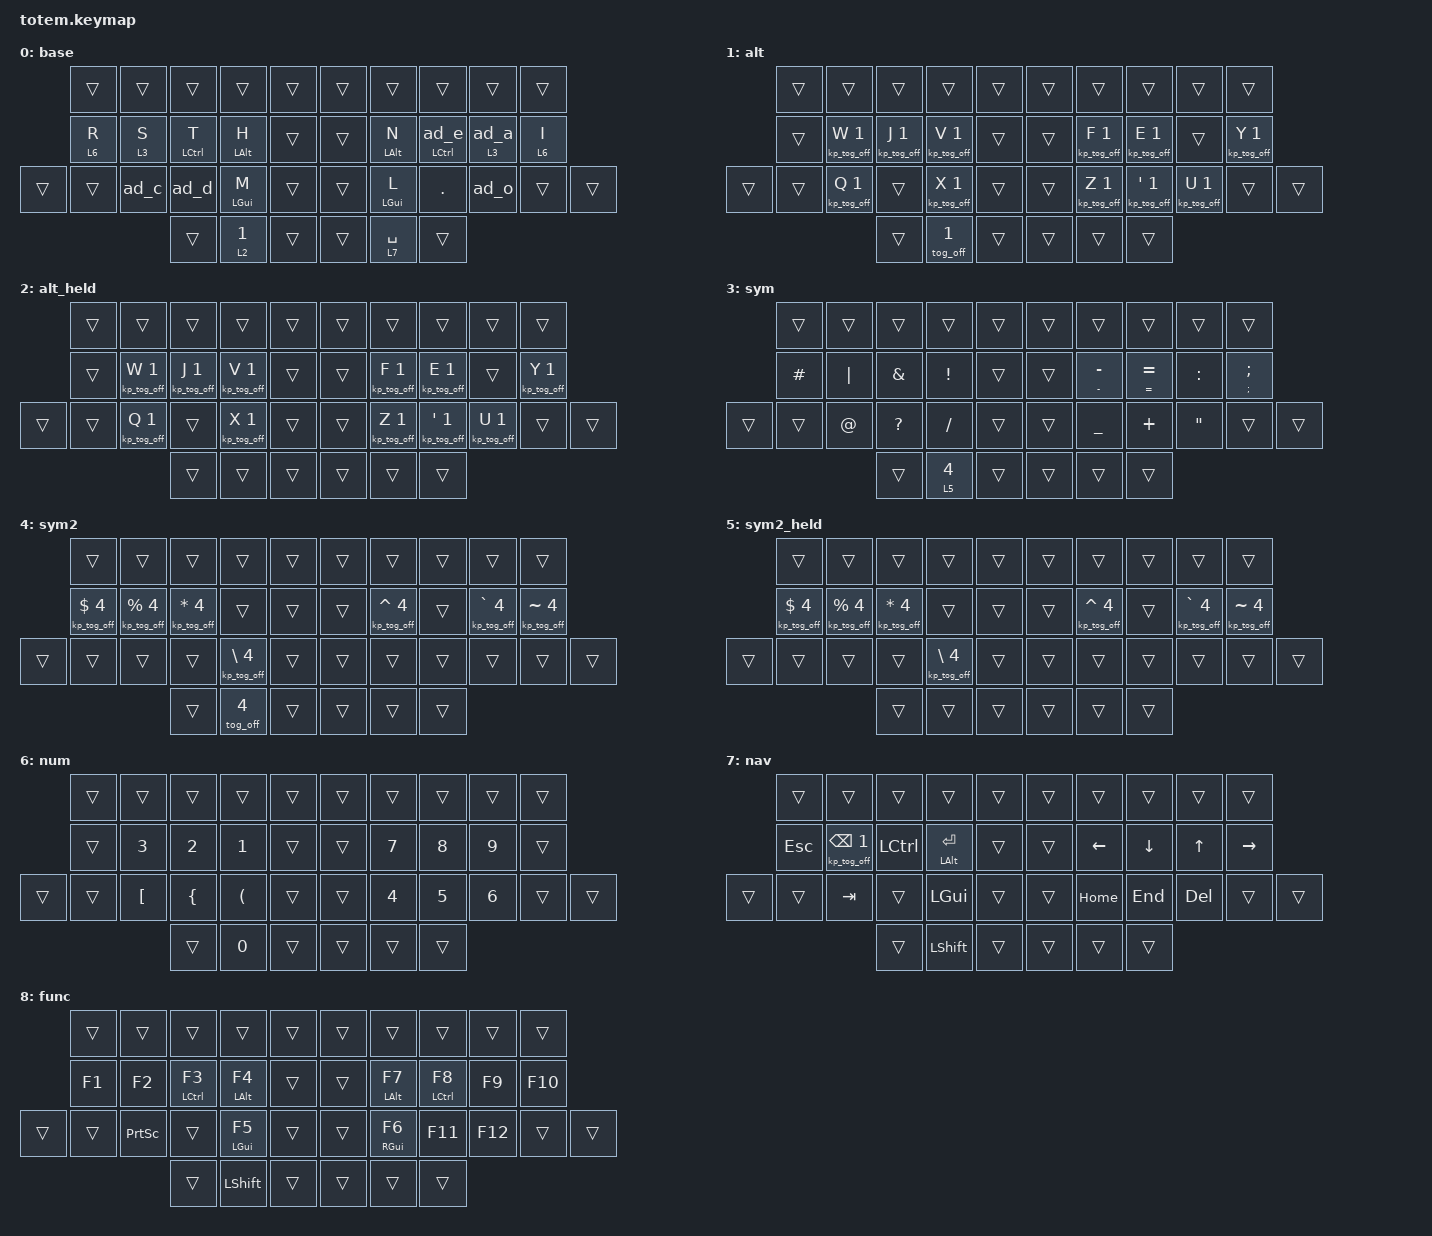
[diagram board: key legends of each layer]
#define ZMK_POINTING_DEFAULT_SCRL_VAL 400

#include <behaviors.dtsi>
#include <dt-bindings/zmk/keys.h>

&mt { tapping-term-ms = <190>; };

&sk { quick-release; };

/ {
    combos {
        compatible = "zmk,combos";

        // ----- ALPHAS -----

        p {
            bindings = <&kp P>;
            key-positions = <23 24>;
            timeout-ms = <28>;
            layers = <0 1 2>;
        };

        b {
            bindings = <&kp B>;
            key-positions = <12 13>;
            timeout-ms = <28>;
            layers = <0 1 2>;
        };

        k {
            bindings = <&kp K>;
            key-positions = <23 11>;
            layers = <0 1 2>;
        };

        g {
            bindings = <&kp G>;
            key-positions = <11 12>;
            timeout-ms = <28>;
            layers = <0 1 2>;
        };

        comma {
            bindings = <&kp COMMA>;
            key-positions = <18 17>;
            timeout-ms = <28>;
            layers = <0 1 2>;
        };

        // ----- UMLAUTE -----

        ae {
            bindings = <&kp RA(Q)>;
            key-positions = <19 17>;
            timeout-ms = <28>;
            layers = <0 1 2>;
        };

        sz {
            bindings = <&kp RA(S)>;
            key-positions = <22 23>;
            timeout-ms = <28>;
            layers = <0 1 2>;
        };

        ue {
            bindings = <&kp RA(Y)>;
            key-positions = <28 29>;
            timeout-ms = <28>;
            layers = <0 1 2>;
        };

        oe {
            bindings = <&kp RA(P)>;
            key-positions = <18 28>;
            timeout-ms = <28>;
            layers = <0 1 2>;
        };

        // ----- BIGRAMS -----

        ex {
            bindings = <&ex>;
            key-positions = <27 28>;
            timeout-ms = <28>;
            layers = <0 1 2>;
        };

        fl {
            bindings = <&fl>;
            key-positions = <16 17>;
            timeout-ms = <28>;
            layers = <0 1 2>;
        };

        qu {
            bindings = <&qu>;
            key-positions = <22 23 24>;
            timeout-ms = <28>;
            layers = <0 1 2>;
        };

        ck {
            bindings = <&ck>;
            key-positions = <12 13 11>;
            timeout-ms = <28>;
            layers = <0 1 2>;
        };

        // ----- NUM -----

        rpar {
            bindings = <&ad_par>;
            key-positions = <17 18>;
            timeout-ms = <28>;
            layers = <5>;
        };

        rbkt {
            bindings = <&kp RBKT>;
            key-positions = <28 29>;
            timeout-ms = <28>;
            layers = <5>;
        };

        rbrc {
            bindings = <&kp RBRC>;
            key-positions = <28 18>;
            timeout-ms = <28>;
            layers = <5>;
        };

        lt {
            bindings = <&kp LT>;
            key-positions = <12 13>;
            timeout-ms = <28>;
            layers = <5>;
        };

        gt {
            bindings = <&kp GT>;
            key-positions = <16 17>;
            timeout-ms = <28>;
            layers = <5>;
        };

        // ----- LAYERS -----

        func_l {
            bindings = <&lt_ssk_slow 8 LSHFT>;
            key-positions = <10 11>;
            timeout-ms = <28>;
            layers = <0 1 2>;
        };

        func_r {
            bindings = <&lt_ssk_slow 8 LSHFT>;
            key-positions = <18 19>;
            timeout-ms = <28>;
            layers = <0 1 2>;
            require-prior-idle-ms = <150>;
        };

        cword_l {
            bindings = <&caps_word>;
            key-positions = <19 16>;
            timeout-ms = <28>;
            layers = <0 1 2>;
            require-prior-idle-ms = <150>;
        };

        cword_r {
            bindings = <&caps_word>;
            key-positions = <10 13>;
            timeout-ms = <28>;
            layers = <0 1 2>;
            require-prior-idle-ms = <150>;
        };
    };

    behaviors {
        // ----- ADAPTIVE KEYS ------

        ad_e: ad_e {
            compatible = "zmk,behavior-antecedent-morph";
            label = "ADAPTIVE_E";
            #binding-cells = <0>;
            defaults = <&kp E>;
            antecedents = <
                O      A
            >;

            bindings = <
                &kp U  &kp U
            >;

            max-delay-ms = <200>;
        };

        ad_u: ad_u {
            compatible = "zmk,behavior-antecedent-morph";
            label = "ADAPTIVE_U";
            #binding-cells = <0>;
            defaults = <&kp U>;
            antecedents = <
                A
            >;

            bindings = <
                &kp E
            >;

            max-delay-ms = <200>;
        };

        ad_a: ad_a {
            compatible = "zmk,behavior-antecedent-morph";
            label = "ADAPTIVE_A";
            #binding-cells = <0>;
            defaults = <&kp A>;
            antecedents = <
                Y      I
            >;

            bindings = <
                &kp O  &kp O
            >;

            max-delay-ms = <200>;
        };

        ad_o: ad_o {
            compatible = "zmk,behavior-antecedent-morph";
            label = "ADAPTIVE_O";
            #binding-cells = <0>;
            defaults = <&kp O>;
            antecedents = <
                Y      I
            >;

            bindings = <
                &kp A  &kp A
            >;

            max-delay-ms = <200>;
        };

        ad_c: ad_c {
            compatible = "zmk,behavior-antecedent-morph";
            label = "ADAPTIVE_C";
            #binding-cells = <0>;
            defaults = <&kp C>;
            antecedents = <
                M      F      P
            >;

            bindings = <
                &kp B  &kp R  &kp H
            >;

            max-delay-ms = <200>;
        };

        ad_d: ad_d {
            compatible = "zmk,behavior-antecedent-morph";
            label = "ADAPTIVE_D";
            #binding-cells = <0>;
            defaults = <&kp D>;
            antecedents = <
                M      P
            >;

            bindings = <
                &kp P  &kp T
            >;

            max-delay-ms = <200>;
        };

        ad_par: ad_par {
            compatible = "zmk,behavior-antecedent-morph";
            label = "ADAPTIVE_PAR_CLOSER";
            #binding-cells = <0>;
            defaults = <&kp RPAR>;
            antecedents = <
                LBKT      LBRC      LT
            >;

            bindings = <
                &kp RBKT  &kp RBRC  &kp GT
            >;

            max-delay-ms = <200>;
        };

        // ----- MT/LT -----

        mt_arrowfy: mt_arrowfy {
            compatible = "zmk,behavior-hold-tap";
            label = "MT_ARROW";
            bindings = <&arrowfy>, <&kp>;

            #binding-cells = <2>;
            tapping-term-ms = <190>;
            flavor = "tap-preferred";
        };

        mt_hmr_l: mt_hmr_l {
            compatible = "zmk,behavior-hold-tap";
            label = "MT_HMR_L";
            bindings = <&kp>, <&kp>;

            #binding-cells = <2>;
            tapping-term-ms = <250>;
            flavor = "balanced";
            hold-trigger-key-positions = <15 5 6 7 17 16 26 27 28 29 18 8 9 19 30 31 32 33 34 36 37 35>;
            require-prior-idle-ms = <200>;
        };

        mt_hmr_r: mt_hmr_r {
            compatible = "zmk,behavior-hold-tap";
            label = "MT_HMR_R";
            bindings = <&kp>, <&kp>;

            #binding-cells = <2>;
            tapping-term-ms = <250>;
            flavor = "balanced";
            hold-trigger-key-positions = <20 21 10 0 1 11 22 23 12 2 3 24 13 4 14 25 32 33 34 36 37 35>;
            require-prior-idle-ms = <200>;
        };

        mt_hmr_r_ad_e: mt_hmr_r_ad_e {
            compatible = "zmk,behavior-hold-tap";
            label = "MT_HMR_R_AD_E";
            bindings = <&kp>, <&ad_e>;

            #binding-cells = <2>;
            tapping-term-ms = <250>;
            flavor = "balanced";
            hold-trigger-key-positions = <20 21 10 0 1 11 22 23 12 2 3 24 13 4 14 25 32 33 34 36 37 35>;
            require-prior-idle-ms = <200>;
        };

        lt_hmr_l: lt_hmr_l {
            compatible = "zmk,behavior-hold-tap";
            label = "LT_HMR_L";
            bindings = <&mo>, <&kp>;

            #binding-cells = <2>;
            tapping-term-ms = <250>;
            flavor = "balanced";
            hold-trigger-key-positions = <15 5 6 7 17 16 26 27 28 29 18 8 9 19 30 31 32 33 34 36 37 35>;
            require-prior-idle-ms = <30>;
        };

        lt_hmr_r: lt_hmr_r {
            compatible = "zmk,behavior-hold-tap";
            label = "LT_HMR_R";
            bindings = <&mo>, <&kp>;

            #binding-cells = <2>;
            tapping-term-ms = <250>;
            flavor = "balanced";
            hold-trigger-key-positions = <20 21 10 0 1 11 22 23 12 2 3 24 13 4 14 25 32 33 34 36 37 35>;
            require-prior-idle-ms = <30>;
        };

        lt_hmr_r_ad_a: lt_hmr_r_ad_a {
            compatible = "zmk,behavior-hold-tap";
            label = "LT_HMR_R_AD_A";
            bindings = <&mo>, <&ad_a>;

            #binding-cells = <2>;
            tapping-term-ms = <250>;
            flavor = "balanced";
            hold-trigger-key-positions = <20 21 10 0 1 11 22 23 12 2 3 24 13 4 14 25 32 33 34 36 37 35>;
            require-prior-idle-ms = <200>;
        };

        mt_thumb: mt_thumb {
            compatible = "zmk,behavior-hold-tap";
            label = "MT_THUMB";
            bindings = <&mo>, <&tog_on>;

            #binding-cells = <2>;
            tapping-term-ms = <140>;
            flavor = "balanced";
        };

        lt_ssk_slow: lt_ssk_slow {
            compatible = "zmk,behavior-hold-tap";
            label = "LT_SSK_SLOW";
            bindings = <&mo>, <&singleSk>;

            #binding-cells = <2>;
            tapping-term-ms = <250>;
            flavor = "tap-preferred";
            require-prior-idle-ms = <150>;
        };

        mt_append: mt_append {
            compatible = "zmk,behavior-hold-tap";
            label = "MT_APPEND";
            bindings = <&append>, <&kp>;

            #binding-cells = <2>;
            tapping-term-ms = <190>;
            flavor = "tap-preferred";
        };

        // ----- OTHER -----

        tog_on: tog_on {
            compatible = "zmk,behavior-toggle-layer";
            label = "TOG_ON";
            #binding-cells = <1>;
        };

        tog_off: tog_off {
            compatible = "zmk,behavior-toggle-layer";
            label = "TOG_OFF";
            #binding-cells = <1>;
            toggle-mode = "off";
        };
    };

    macros {
        // ----- BIGRAMS -----

        ex: ex {
            compatible = "zmk,behavior-macro";
            #binding-cells = <0>;
            bindings = <&kp E &kp X>;
            label = "EX";
        };

        qu: qu {
            compatible = "zmk,behavior-macro";
            #binding-cells = <0>;
            bindings = <&kp Q &kp U>;
            label = "QU";
        };

        ck: ck {
            compatible = "zmk,behavior-macro";
            #binding-cells = <0>;
            bindings = <&kp C &kp K>;
            label = "CK";
        };

        fl: fl {
            compatible = "zmk,behavior-macro";
            #binding-cells = <0>;
            bindings = <&kp F &kp L>;
            label = "FL";
        };

        // ----- OTHER -----

        arrowfy: arrowfy {
            compatible = "zmk,behavior-macro-one-param";
            #binding-cells = <1>;
            bindings = <&macro_param_1to1 &kp MACRO_PLACEHOLDER &kp GT>;
            label = "ARROWFY";
            wait-ms = <30>;
            tap-ms = <30>;
        };

        append: end_append {
            compatible = "zmk,behavior-macro-one-param";
            #binding-cells = <1>;
            bindings = <&kp END &macro_param_1to1 &kp MACRO_PLACEHOLDER>;
            label = "END_APPEND";
        };

        double: double {
            compatible = "zmk,behavior-macro-one-param";
            #binding-cells = <1>;
            bindings = <&macro_param_1to1 &kp MACRO_PLACEHOLDER &macro_param_1to1 &kp MACRO_PLACEHOLDER>;
            label = "DOUBLE";
        };

        singleSk: singleSk {
            compatible = "zmk,behavior-macro-one-param";
            #binding-cells = <1>;
            bindings = <&macro_param_1to1 &sk MACRO_PLACEHOLDER>;
            label = "SINGLESK";
        };

        singleSl: singleSl {
            compatible = "zmk,behavior-macro-one-param";
            #binding-cells = <1>;
            bindings = <&macro_param_1to1 &sl MACRO_PLACEHOLDER>;
            label = "SINGLESL";
        };

        kp_tog_off: kp_tog_off {
            compatible = "zmk,behavior-macro-two-param";
            #binding-cells = <2>;
            bindings = <&macro_param_1to1 &kp MACRO_PLACEHOLDER &macro_param_2to1 &tog_off MACRO_PLACEHOLDER>;
            label = "KP_TOG_OFF";
            wait-ms = <0>;
        };
    };

    keymap {
        compatible = "zmk,keymap";

        base {
            bindings = <
        &trans         &trans         &trans                    &trans            &trans    &trans  &trans            &trans                         &trans              &trans
        &lt_hmr_l 6 R  &lt_hmr_l 3 S  &mt_hmr_l LEFT_CONTROL T  &mt_hmr_l LALT H  &trans    &trans  &mt_hmr_r LALT N  &mt_hmr_r_ad_e LEFT_CONTROL 0  &lt_hmr_r_ad_a 3 0  &lt_hmr_r 6 I
&trans  &trans         &ad_c          &ad_d                     &mt_hmr_l LGUI M  &trans    &trans  &mt_hmr_r LGUI L  &kp DOT                        &ad_o               &trans         &trans
                                      &trans                    &mt_thumb 2 1     &trans    &trans  &lt 7 SPACE       &trans
            >;
        };

        alt {
            bindings = <
        &trans  &trans           &trans           &trans           &trans    &trans  &trans           &trans             &trans           &trans
        &trans  &kp_tog_off W 1  &kp_tog_off J 1  &kp_tog_off V 1  &trans    &trans  &kp_tog_off F 1  &kp_tog_off E 1    &trans           &kp_tog_off Y 1
&trans  &trans  &kp_tog_off Q 1  &trans           &kp_tog_off X 1  &trans    &trans  &kp_tog_off Z 1  &kp_tog_off SQT 1  &kp_tog_off U 1  &trans           &trans
                                 &trans           &tog_off 1       &trans    &trans  &trans           &trans
            >;
        };

        alt_held {
            bindings = <
        &trans  &trans           &trans           &trans           &trans    &trans  &trans           &trans             &trans           &trans
        &trans  &kp_tog_off W 1  &kp_tog_off J 1  &kp_tog_off V 1  &trans    &trans  &kp_tog_off F 1  &kp_tog_off E 1    &trans           &kp_tog_off Y 1
&trans  &trans  &kp_tog_off Q 1  &trans           &kp_tog_off X 1  &trans    &trans  &kp_tog_off Z 1  &kp_tog_off SQT 1  &kp_tog_off U 1  &trans           &trans
                                 &trans           &trans           &trans    &trans  &trans           &trans
            >;
        };

        sym {
            bindings = <
        &trans    &trans    &trans     &trans         &trans    &trans  &trans                   &trans                   &trans     &trans
        &kp HASH  &kp PIPE  &kp AMPS   &kp EXCL       &trans    &trans  &mt_arrowfy MINUS MINUS  &mt_arrowfy EQUAL EQUAL  &kp COLON  &mt_append SEMI SEMI
&trans  &trans    &kp AT    &kp QMARK  &kp FSLH       &trans    &trans  &kp UNDER                &kp PLUS                 &kp DQT    &trans                &trans
                            &trans     &mt_thumb 5 4  &trans    &trans  &trans                   &trans
            >;
        };

        sym2 {
            bindings = <
        &trans              &trans               &trans              &trans              &trans    &trans  &trans               &trans  &trans               &trans
        &kp_tog_off DLLR 4  &kp_tog_off PRCNT 4  &kp_tog_off STAR 4  &trans              &trans    &trans  &kp_tog_off CARET 4  &trans  &kp_tog_off GRAVE 4  &kp_tog_off TILDE 4
&trans  &trans              &trans               &trans              &kp_tog_off BSLH 4  &trans    &trans  &trans               &trans  &trans               &trans               &trans
                                                 &trans              &tog_off 4          &trans    &trans  &trans               &trans
            >;
        };

        sym2_held {
            bindings = <
        &trans              &trans               &trans              &trans              &trans    &trans  &trans               &trans  &trans               &trans
        &kp_tog_off DLLR 4  &kp_tog_off PRCNT 4  &kp_tog_off STAR 4  &trans              &trans    &trans  &kp_tog_off CARET 4  &trans  &kp_tog_off GRAVE 4  &kp_tog_off TILDE 4
&trans  &trans              &trans               &trans              &kp_tog_off BSLH 4  &trans    &trans  &trans               &trans  &trans               &trans               &trans
                                                 &trans              &trans              &trans    &trans  &trans               &trans
            >;
        };

        num {
            bindings = <
        &trans  &trans    &trans    &trans    &trans    &trans  &trans  &trans  &trans  &trans
        &trans  &kp N3    &kp N2    &kp N1    &trans    &trans  &kp N7  &kp N8  &kp N9  &trans
&trans  &trans  &kp LBKT  &kp LBRC  &kp LPAR  &trans    &trans  &kp N4  &kp N5  &kp N6  &trans  &trans
                          &trans    &kp N0    &trans    &trans  &trans  &trans
            >;
        };

        nav {
            bindings = <
        &trans   &trans              &trans            &trans          &trans    &trans  &trans    &trans    &trans   &trans
        &kp ESC  &kp_tog_off BSPC 1  &kp LEFT_CONTROL  &mt LALT ENTER  &trans    &trans  &kp LEFT  &kp DOWN  &kp UP   &kp RIGHT
&trans  &trans   &kp TAB             &trans            &kp LGUI        &trans    &trans  &kp HOME  &kp END   &kp DEL  &trans     &trans
                                     &trans            &kp LSHFT       &trans    &trans  &trans    &trans
            >;
        };

        func {
            bindings = <
        &trans  &trans     &trans               &trans           &trans    &trans  &trans           &trans        &trans   &trans
        &kp F1  &kp F2     &mt LEFT_CONTROL F3  &mt LEFT_ALT F4  &trans    &trans  &mt LEFT_ALT F7  &mt LCTRL F8  &kp F9   &kp F10
&trans  &trans  &kp PSCRN  &trans               &mt LGUI F5      &trans    &trans  &mt RGUI F6      &kp F11       &kp F12  &trans   &trans
                           &trans               &kp LSHIFT       &trans    &trans  &trans           &trans
            >;
        };
    };

    conditional_layers { compatible = "zmk,conditional-layers"; };
};
